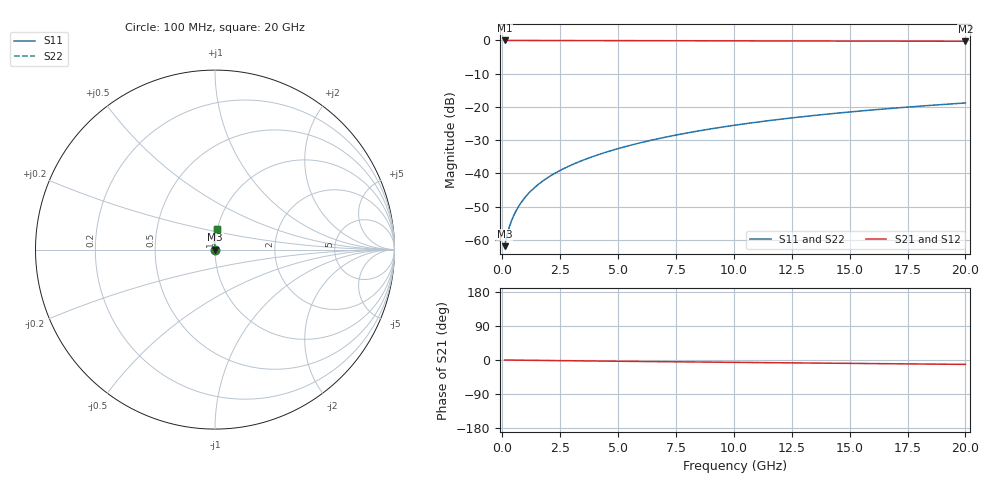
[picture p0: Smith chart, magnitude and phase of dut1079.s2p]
! Touchstone file exported from HFSS 2024.1.0
!  File:  C:/UserFiles/LocalFiles/RDL_TSV_Batchsim/temp_RDL_top_1079_1780045489.aedt
!  Generated:  05:06:58 PM May 29, 2026
!  Design:  RDL_top
!  Project:  temp_RDL_top_1079_1780045489
!  Setup:  Setup1
!  Solution:  Sweep
! Variables:
!  dtsv = 10.80580581um
!  hbump = 3um
!  htsv = 81.66um
!  ldown = 100um
!  lrdl = 145.76um
!  p = 40
!  p1 = 51.98um
!  rhole = 1um
!  t = 450um
!  tdown = 3.915915916um
!  trdl = 4.25um
!  wdown = 15.38538539um
!  wrdl = 29.1um
# GHz S MA R 50.000000
! Terminal data exported
! Port[1] = Box2_T1
! Port[2] = Box2_T2
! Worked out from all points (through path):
!   200 points, 100 MHz to 20 GHz, reference 50 ohm
!   highest |S21| = -0.01 dB at 100 MHz (marker M1); lowest = -0.2 dB at 20 GHz (marker M2)
!   group delay of S21, straight-line fit = 1.58 ps
!   lowest |S11| = -61.9 dB at 100 MHz (marker M3), VSWR 1.00, Z = 50.1 + j0.0496 ohm
!   |S11| at or under -10 dB: start of sweep to end of sweep
!   |S22| runs from -61.9 to -18.8 dB; largest |S21 - S12| = 3.2e-15
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0.1  0.0008005 38.2  0.9994 -0.1  0.9994 -0.1  0.0008005 38.2
! Gamma 0 0 0 0
! Port Impedance 50 0 50 0
0.2  0.001164 54.7  0.9993 -0.1  0.9993 -0.1  0.001164 54.7
0.3  0.001548 63.1  0.9993 -0.2  0.9993 -0.2  0.001548 63.1
0.4  0.00194 68.4  0.9992 -0.3  0.9992 -0.3  0.001939 68.4
0.5  0.002338 72.2  0.9992 -0.4  0.9992 -0.4  0.002338 72.2
0.6  0.002743 75.0  0.9991 -0.4  0.9991 -0.4  0.002743 75.0
0.8  0.00357 79.0  0.999 -0.6  0.999 -0.6  0.00357 79.0
1.1  0.004838 82.8  0.9989 -0.8  0.9989 -0.8  0.004838 82.8
1.5  0.006568 85.8  0.9986 -1.0  0.9986 -1.0  0.006568 85.8
1.8  0.00789 87.5  0.9983 -1.2  0.9983 -1.2  0.00789 87.5
2.1  0.009234 88.7  0.998 -1.4  0.998 -1.4  0.009234 88.7
2.7  0.01199 90.7  0.9973 -1.8  0.9973 -1.8  0.01199 90.7
3.5  0.01583 92.4  0.9961 -2.4  0.9961 -2.4  0.01583 92.4
4.2  0.01935 93.5  0.995 -2.8  0.995 -2.8  0.01935 93.5
5  0.02354 94.2  0.9936 -3.3  0.9936 -3.3  0.02354 94.2
6.8  0.03357 94.8  0.9904 -4.4  0.9904 -4.4  0.03357 94.8
8.4  0.04301 94.4  0.9877 -5.3  0.9877 -5.3  0.04301 94.4
10.1  0.05337 93.5  0.9849 -6.3  0.9849 -6.3  0.05337 93.5
11.7  0.06327 92.3  0.9825 -7.1  0.9825 -7.1  0.06327 92.3
13.4  0.07385 91.0  0.9802 -8.1  0.9802 -8.1  0.07385 91.0
16.7  0.09435 88.4  0.976 -9.8  0.976 -9.8  0.09435 88.4
20  0.1146 85.8  0.972 -11.6  0.972 -11.6  0.1146 85.8
